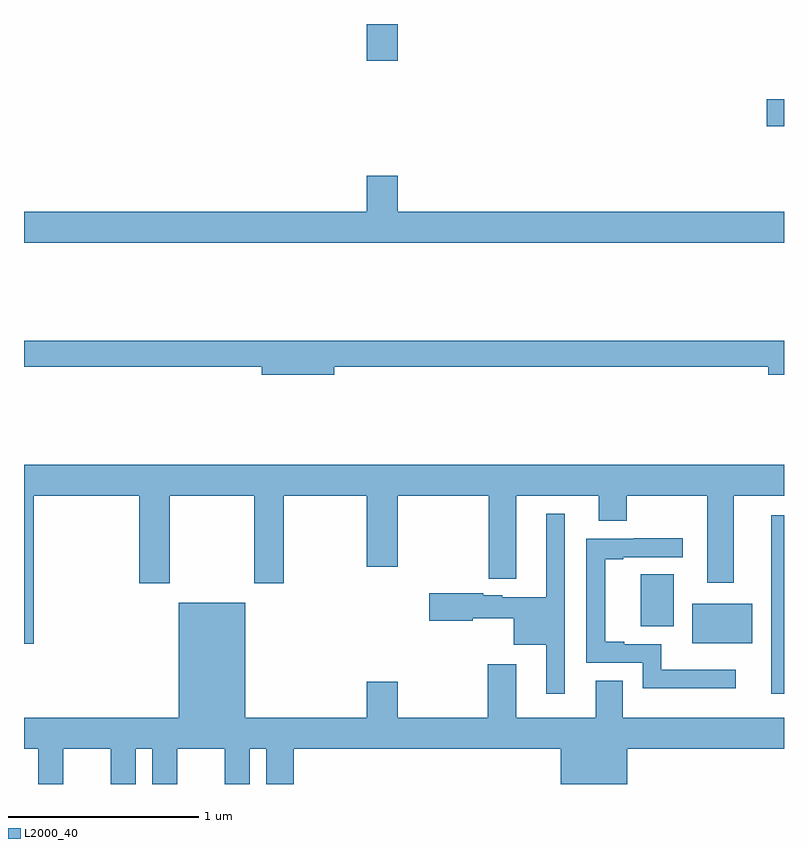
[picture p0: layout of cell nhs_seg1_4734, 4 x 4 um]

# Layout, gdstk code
import gdstk
lib = gdstk.Library(unit=1e-6, precision=1e-09)
def R(c, l, rs):  # rectangles x0, y0, x1, y1
    for r in rs: c.add(gdstk.rectangle(r[:2], r[2:], *l))
def P(c, l, *ps):  # polygons
    for p in ps: c.add(gdstk.Polygon(p, *l))
L2000_40 = (2000, 40)

nhs_seg1_4734 = lib.new_cell('nhs_seg1_4734')
R(nhs_seg1_4734, L2000_40, [(370.934,566.673,371,567.613), (370.517,566.939,370.834,567.148), (370.247,567.029,370.42,567.304), (370.908,569.662,371,569.804), (368.804,570.006,368.968,570.199)])
P(nhs_seg1_4734, L2000_40, [(371,569.212),(368.968,569.212),(368.968,569.401),(368.804,569.401),(368.804,569.212),(367,569.212),(367,569.048),(371,569.048)],
  [(368.632,568.396),(370.916,568.396),(370.916,568.354),(371,568.354),(371,568.532),(367,568.532),(367,568.396),(368.252,568.396),(368.252,568.354),(368.632,568.354)],
  [(367.052,567.716),(367.607,567.716),(367.607,567.255),(367.767,567.255),(367.767,567.716),(368.212,567.716),(368.212,567.255),(368.367,567.255),(368.367,567.716),(368.804,567.716),(368.804,567.342),(368.968,567.342),(368.968,567.716),(369.445,567.716),(369.445,567.391),(369.446,567.391),(369.446,567.279),(369.592,567.279),(369.592,567.716),(370.025,567.716),(370.025,567.585),(370.173,567.585),(370.173,567.716),(370.595,567.716),(370.595,567.258),(370.735,567.258),(370.735,567.716),(371,567.716),(371,567.88),(367,567.88),(367,566.937),(367.052,566.937)],
  [(369.846,567.622),(369.749,567.622),(369.749,567.181),(369.516,567.181),(369.516,567.193),(369.416,567.193),(369.416,567.203),(369.132,567.203),(369.132,567.059),(369.363,567.059),(369.363,567.071),(369.578,567.071),(369.578,566.933),(369.749,566.933),(369.749,566.673),(369.846,566.673)],
  [(370.747,566.8),(370.354,566.8),(370.354,566.934),(370.16,566.934),(370.16,566.947),(370.058,566.947),(370.058,567.381),(370.153,567.381),(370.153,567.393),(370.468,567.393),(370.468,567.492),(370.209,567.492),(370.209,567.489),(369.96,567.489),(369.96,566.838),(370.257,566.838),(370.257,566.702),(370.747,566.702)],
  [(370.15,566.743),(370.01,566.743),(370.01,566.548),(369.592,566.548),(369.592,566.83),(369.442,566.83),(369.442,566.548),(368.968,566.548),(368.968,566.737),(368.804,566.737),(368.804,566.548),(368.164,566.548),(368.164,567.154),(367.814,567.154),(367.814,566.548),(367,566.548),(367,566.384),(367.076,566.384),(367.076,566.199),(367.207,566.199),(367.207,566.384),(367.457,566.384),(367.457,566.199),(367.588,566.199),(367.588,566.384),(367.676,566.384),(367.676,566.199),(367.807,566.199),(367.807,566.384),(368.057,566.384),(368.057,566.199),(368.188,566.199),(368.188,566.384),(368.276,566.384),(368.276,566.199),(368.42,566.199),(368.42,566.384),(369.824,566.384),(369.824,566.199),(370.174,566.199),(370.174,566.384),(371,566.384),(371,566.548),(370.15,566.548)])

lib.write_gds('nhs_seg1_4734.gds')
